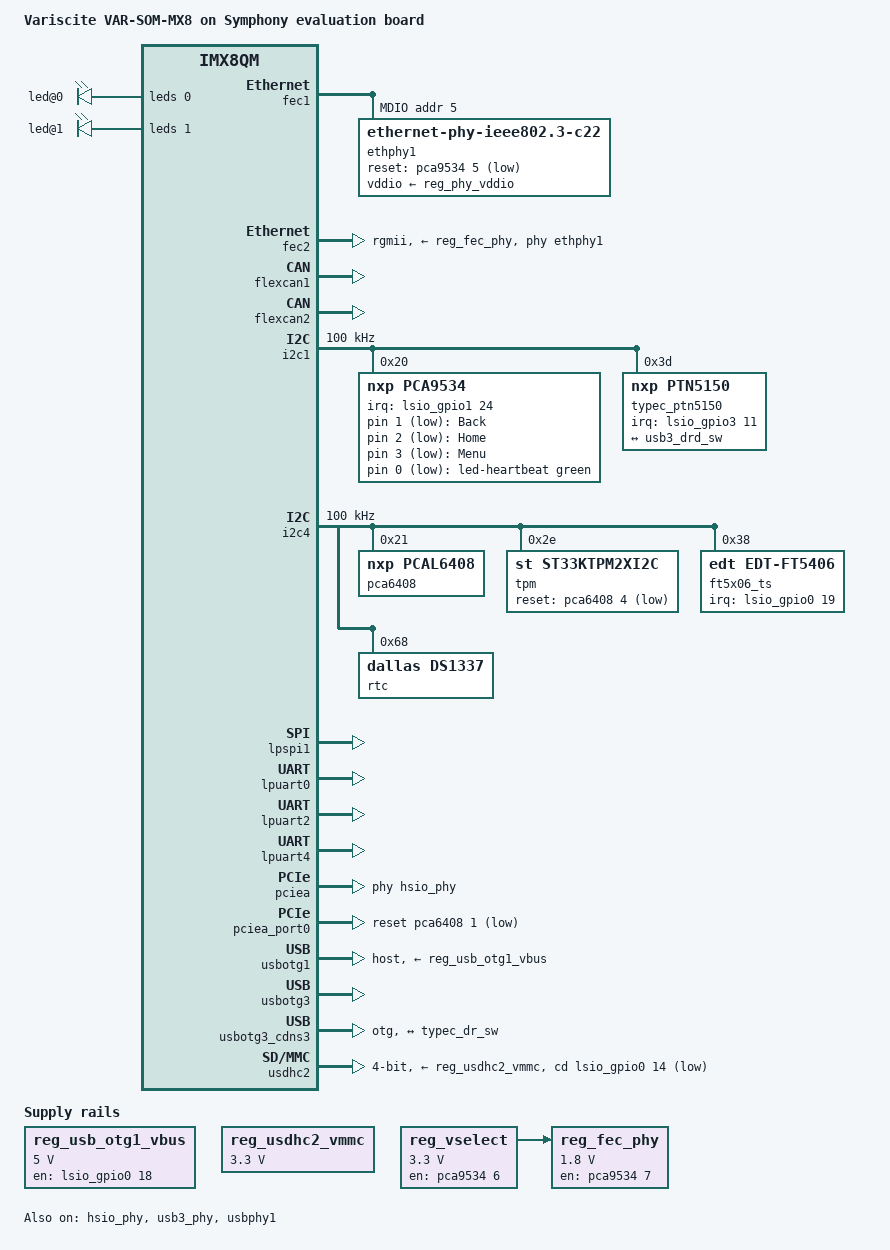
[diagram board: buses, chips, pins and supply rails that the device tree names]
// SPDX-License-Identifier: (GPL-2.0+ OR MIT)
/*
 * Variscite Symphony carrier board for VAR-SOM-MX8 QuadMax
 *
 * Link: https://variscite.com/carrier-boards/symphony-board/
 *
 * Copyright (C) 2026 Variscite Ltd. - https://www.variscite.com/
 *
 */

/dts-v1/;

#include <dt-bindings/input/input.h>
#include <dt-bindings/leds/common.h>
#include "imx8qm-var-som.dtsi"

/ {
	model = "Variscite VAR-SOM-MX8 on Symphony evaluation board";
	compatible = "variscite,var-som-imx8qm-symphony",
		     "variscite,var-som-imx8qm", "fsl,imx8qm";
	chosen {
		stdout-path = &lpuart0;
	};

	gpio-keys {
		compatible = "gpio-keys";

		button-back {
			label = "Back";
			gpios = <&pca9534 1 GPIO_ACTIVE_LOW>;
			linux,code = <KEY_BACK>;
		};

		button-home {
			label = "Home";
			gpios = <&pca9534 2 GPIO_ACTIVE_LOW>;
			linux,code = <KEY_HOME>;
		};

		button-menu {
			label = "Menu";
			gpios = <&pca9534 3 GPIO_ACTIVE_LOW>;
			linux,code = <KEY_MENU>;
		};
	};

	gpio-leds {
		compatible = "gpio-leds";

		led-heartbeat {
			function = LED_FUNCTION_STATUS;
			color = <LED_COLOR_ID_GREEN>;
			gpios = <&pca9534 0 GPIO_ACTIVE_LOW>;
			linux,default-trigger = "heartbeat";
		};
	};

	reg_fec_phy: regulator-fec-phy {
		compatible = "regulator-fixed";
		regulator-name = "fec-phy";
		regulator-min-microvolt = <1800000>;
		regulator-max-microvolt = <1800000>;
		regulator-enable-ramp-delay = <20000>;
		vin-supply = <&reg_vselect>;
		gpio = <&pca9534 7 GPIO_ACTIVE_HIGH>;
		enable-active-high;
	};

	reg_usb_otg1_vbus: regulator-usb-otg1-vbus {
		compatible = "regulator-fixed";
		regulator-name = "usb_otg1_vbus";
		regulator-min-microvolt = <5000000>;
		regulator-max-microvolt = <5000000>;
		gpio = <&lsio_gpio0 18 GPIO_ACTIVE_HIGH>;
		enable-active-high;
	};

	reg_usdhc2_vmmc: regulator-usdhc2-vmmc {
		compatible = "regulator-fixed";
		regulator-name = "sw-3p3-sd1";
		regulator-min-microvolt = <3300000>;
		regulator-max-microvolt = <3300000>;
		regulator-always-on;
	};

	reg_vselect: regulator-vselect {
		compatible = "regulator-fixed";
		regulator-name = "reg_vselect";
		regulator-min-microvolt = <3300000>;
		regulator-max-microvolt = <3300000>;
		regulator-always-on;
		gpio = <&pca9534 6 GPIO_ACTIVE_HIGH>;
		enable-active-high;
	};
};

&ethphy0 {
	leds {
		#address-cells = <1>;
		#size-cells = <0>;

		led@0 {
			reg = <0>;
			color = <LED_COLOR_ID_YELLOW>;
			function = LED_FUNCTION_LAN;
			linux,default-trigger = "netdev";
		};

		led@1 {
			reg = <1>;
			color = <LED_COLOR_ID_GREEN>;
			function = LED_FUNCTION_LAN;
			linux,default-trigger = "netdev";
		};
	};
};

&fec1 {
	mdio {
		ethphy1: ethernet-phy@5 {
			compatible = "ethernet-phy-ieee802.3-c22";
			reg = <5>;
			vddio-supply = <&reg_phy_vddio>;
			reset-gpios = <&pca9534 5 GPIO_ACTIVE_LOW>;
			reset-assert-us = <10000>;
			reset-deassert-us = <100000>;

			leds {
				#address-cells = <1>;
				#size-cells = <0>;

				led@0 {
					reg = <0>;
					color = <LED_COLOR_ID_YELLOW>;
					function = LED_FUNCTION_LAN;
					linux,default-trigger = "netdev";
				};

				led@1 {
					reg = <1>;
					color = <LED_COLOR_ID_GREEN>;
					function = LED_FUNCTION_LAN;
					linux,default-trigger = "netdev";
				};
			};
		};
	};
};

&fec2 {
	pinctrl-names = "default";
	pinctrl-0 = <&pinctrl_fec2>;
	/*
	 * The required RGMII TX and RX 2ns delays are implemented directly
	 * in hardware via passive delay elements on the SOM PCB.
	 * No delay configuration is needed in software via PHY driver.
	 */
	phy-mode = "rgmii";
	phy-handle = <&ethphy1>;
	phy-supply = <&reg_fec_phy>;
	status = "okay";
};

&flexcan1 {
	pinctrl-names = "default";
	pinctrl-0 = <&pinctrl_flexcan1>;
	status = "okay";
};

&flexcan2 {
	pinctrl-names = "default";
	pinctrl-0 = <&pinctrl_flexcan2>;
	status = "okay";
};

&hsio_phy {
	fsl,hsio-cfg = "pciea-pcieb-sata";
	fsl,refclk-pad-mode = "input";
	status = "okay";
};

&i2c1 {
	clock-frequency = <100000>;
	pinctrl-names = "default";
	pinctrl-0 = <&pinctrl_i2c1>;
	status = "okay";

	pca9534: gpio@20 {
		compatible = "nxp,pca9534";
		reg = <0x20>;
		gpio-controller;
		#gpio-cells = <2>;
		pinctrl-names = "default";
		pinctrl-0 = <&pinctrl_pca9534>;
		interrupt-parent = <&lsio_gpio1>;
		interrupts = <24 IRQ_TYPE_LEVEL_LOW>;
	};

	/* USB Type-C Controller */
	typec_ptn5150: typec@3d {
		compatible = "nxp,ptn5150";
		reg = <0x3d>;
		pinctrl-names = "default";
		pinctrl-0 = <&pinctrl_ptn5150>;
		interrupt-parent = <&lsio_gpio3>;
		interrupts = <11 IRQ_TYPE_LEVEL_LOW>;

		port {
			typec_dr_sw: endpoint {
				remote-endpoint = <&usb3_drd_sw>;
			};
		};
	};
};

&i2c4 {
	#address-cells = <1>;
	#size-cells = <0>;
	clock-frequency = <100000>;
	pinctrl-names = "default";
	pinctrl-0 = <&pinctrl_i2c4>;
	status = "okay";

	pca6408: gpio@21 {
		compatible = "nxp,pcal6408";
		reg = <0x21>;
		gpio-controller;
		#gpio-cells = <2>;

		/* RGB_SEL */
		lvds-brg-enable-hog {
			gpio-hog;
			gpios = <7 GPIO_ACTIVE_HIGH>;
			output-low;
			line-name = "lvds_brg_en";
		};
	};

	st33ktpm2xi2c: tpm@2e {
		compatible = "st,st33ktpm2xi2c", "tcg,tpm-tis-i2c";
		reg = <0x2e>;
		label = "tpm";
		reset-gpios = <&pca6408 4 GPIO_ACTIVE_LOW>;
	};

	/* Capacitive touch */
	ft5x06_ts: touchscreen@38 {
		compatible = "edt,edt-ft5406";
		pinctrl-names = "default";
		reg = <0x38>;
		pinctrl-0 = <&pinctrl_captouch>;
		interrupt-parent = <&lsio_gpio0>;
		interrupts = <19 IRQ_TYPE_LEVEL_LOW>;
		touchscreen-size-x = <800>;
		touchscreen-size-y = <480>;
		touchscreen-inverted-x;
		touchscreen-inverted-y;
		wakeup-source;
	};

	rtc@68 {
		compatible = "dallas,ds1337";
		reg = <0x68>;
	};
};

&lpspi1 {
	#address-cells = <1>;
	#size-cells = <0>;
	pinctrl-names = "default";
	pinctrl-0 = <&pinctrl_lpspi1>;
	cs-gpios = <&lsio_gpio3 24 GPIO_ACTIVE_LOW>;
	status = "okay";
};

/* console */
&lpuart0 {
	pinctrl-names = "default";
	pinctrl-0 = <&pinctrl_lpuart0>;
	status = "okay";
};

/* header */
&lpuart2 {
	pinctrl-names = "default";
	pinctrl-0 = <&pinctrl_lpuart2>;
	status = "okay";
};

/* header */
&lpuart4 {
	pinctrl-names = "default";
	pinctrl-0 = <&pinctrl_lpuart4>;
	status = "okay";
};

&pca9534 {
	usb3-signal-route-hog {
		gpio-hog;
		gpios = <4 GPIO_ACTIVE_HIGH>;
		output-low;
		line-name = "usb3_signal_route";
	};
};

&pciea{
	phys = <&hsio_phy 0 PHY_TYPE_PCIE 0>;
	phy-names = "pcie-phy";
	status = "okay";
};

&pciea_port0 {
	reset-gpios = <&pca6408 1 GPIO_ACTIVE_LOW>;
};

&usb3_phy {
	status = "okay";
};

&usbotg1 {
	dr_mode = "host";
	pinctrl-names = "default";
	pinctrl-0 = <&pinctrl_usbotg1>;
	vbus-supply = <&reg_usb_otg1_vbus>;
	srp-disable;
	hnp-disable;
	adp-disable;
	disable-over-current;
	status = "okay";
};

&usbotg3 {
	status = "okay";
};

&usbotg3_cdns3 {
	dr_mode = "otg";
	usb-role-switch;
	status = "okay";

	port {
		usb3_drd_sw: endpoint {
			remote-endpoint = <&typec_dr_sw>;
		};
	};
};

&usbphy1 {
	status = "okay";
};

&usdhc2 {
	pinctrl-names = "default", "state_100mhz", "state_200mhz";
	pinctrl-0 = <&pinctrl_usdhc2>, <&pinctrl_usdhc2_gpio>;
	pinctrl-1 = <&pinctrl_usdhc2_100mhz>, <&pinctrl_usdhc2_gpio>;
	pinctrl-2 = <&pinctrl_usdhc2_200mhz>, <&pinctrl_usdhc2_gpio>;
	bus-width = <4>;
	cd-gpios = <&lsio_gpio0 14 GPIO_ACTIVE_LOW>;
	vmmc-supply = <&reg_usdhc2_vmmc>;
	status = "okay";
};

&iomuxc {
	pinctrl_captouch: captouchgrp {
		fsl,pins = <
			IMX8QM_GPT1_COMPARE_LSIO_GPIO0_IO19			0x06000021
		>;
	};

	pinctrl_fec2: fec2grp {
		fsl,pins = <
			IMX8QM_ENET1_RGMII_TX_CTL_CONN_ENET1_RGMII_TX_CTL	0x06000048
			IMX8QM_ENET1_RGMII_TXC_CONN_ENET1_RGMII_TXC		0x06000048
			IMX8QM_ENET1_RGMII_TXD0_CONN_ENET1_RGMII_TXD0		0x06000048
			IMX8QM_ENET1_RGMII_TXD1_CONN_ENET1_RGMII_TXD1		0x06000048
			IMX8QM_ENET1_RGMII_TXD2_CONN_ENET1_RGMII_TXD2		0x06000048
			IMX8QM_ENET1_RGMII_TXD3_CONN_ENET1_RGMII_TXD3		0x06000048
			IMX8QM_ENET1_RGMII_RXC_CONN_ENET1_RGMII_RXC		0x06000048
			IMX8QM_ENET1_RGMII_RX_CTL_CONN_ENET1_RGMII_RX_CTL	0x06000048
			IMX8QM_ENET1_RGMII_RXD0_CONN_ENET1_RGMII_RXD0		0x06000048
			IMX8QM_ENET1_RGMII_RXD1_CONN_ENET1_RGMII_RXD1		0x06000048
			IMX8QM_ENET1_RGMII_RXD2_CONN_ENET1_RGMII_RXD2		0x06000048
			IMX8QM_ENET1_RGMII_RXD3_CONN_ENET1_RGMII_RXD3		0x06000048
		>;
	};

	pinctrl_flexcan1: flexcan0grp {
		fsl,pins = <
			IMX8QM_FLEXCAN0_TX_DMA_FLEXCAN0_TX			0x00000021
			IMX8QM_FLEXCAN0_RX_DMA_FLEXCAN0_RX			0x00000021
		>;
	};

	pinctrl_flexcan2: flexcan1grp {
		fsl,pins = <
			IMX8QM_FLEXCAN1_TX_DMA_FLEXCAN1_TX			0x00000021
			IMX8QM_FLEXCAN1_RX_DMA_FLEXCAN1_RX			0x00000021
		>;
	};

	pinctrl_i2c1: i2c1grp {
		fsl,pins = <
			IMX8QM_USB_SS3_TC3_DMA_I2C1_SDA				0xc6000020
			IMX8QM_USB_SS3_TC1_DMA_I2C1_SCL				0xc6000020
		>;
	};

	pinctrl_i2c4: i2c4grp {
		fsl,pins = <
			IMX8QM_ENET1_MDC_DMA_I2C4_SCL				0xc6000020
			IMX8QM_ENET1_MDIO_DMA_I2C4_SDA				0xc6000020
		>;
	};

	pinctrl_lpspi1: lpspi1grp {
		fsl,pins = <
			IMX8QM_ADC_IN3_DMA_SPI1_SCK				0x0600004c
			IMX8QM_ADC_IN4_DMA_SPI1_SDO				0x0600004c
			IMX8QM_ADC_IN5_DMA_SPI1_SDI				0x0600004c
			IMX8QM_ADC_IN6_LSIO_GPIO3_IO24				0x00000021
		>;
	};

	pinctrl_lpuart0: lpuart0grp {
		fsl,pins = <
			IMX8QM_UART0_RX_DMA_UART0_RX				0x06000020
			IMX8QM_UART0_TX_DMA_UART0_TX				0x06000020
		>;
	};

	pinctrl_lpuart2: lpuart2grp {
		fsl,pins = <
			IMX8QM_LVDS0_I2C1_SCL_DMA_UART2_TX			0x06000020
			IMX8QM_LVDS0_I2C1_SDA_DMA_UART2_RX			0x06000020
		>;
	};

	pinctrl_lpuart4: lpuart4grp {
		fsl,pins = <
			IMX8QM_M40_GPIO0_01_DMA_UART4_TX			0x06000020
			IMX8QM_M40_GPIO0_00_DMA_UART4_RX			0x06000020
		>;
	};

	pinctrl_pca9534: pca9534grp {
		fsl,pins = <
			IMX8QM_MIPI_CSI0_MCLK_OUT_LSIO_GPIO1_IO24		0x00000021
		>;
	};

	pinctrl_ptn5150: ptn5150grp {
		fsl,pins = <
			IMX8QM_SPI2_CS1_LSIO_GPIO3_IO11				0x00000021
		>;
	};

	pinctrl_usbotg1: otg1grp {
		fsl,pins = <
			IMX8QM_GPT1_CAPTURE_LSIO_GPIO0_IO18			0x06000048
		>;
	};

	pinctrl_usdhc2: usdhc2grp {
		fsl,pins = <
			IMX8QM_USDHC1_CLK_CONN_USDHC1_CLK			0x06000041
			IMX8QM_USDHC1_CMD_CONN_USDHC1_CMD			0x00000021
			IMX8QM_USDHC1_DATA0_CONN_USDHC1_DATA0			0x00000021
			IMX8QM_USDHC1_DATA1_CONN_USDHC1_DATA1			0x00000021
			IMX8QM_USDHC1_DATA2_CONN_USDHC1_DATA2			0x00000021
			IMX8QM_USDHC1_DATA3_CONN_USDHC1_DATA3			0x00000021
			IMX8QM_USDHC1_VSELECT_CONN_USDHC1_VSELECT		0x00000021
		>;
	};

	pinctrl_usdhc2_100mhz: usdhc2-100mhzgrp {
		fsl,pins = <
			IMX8QM_USDHC1_CLK_CONN_USDHC1_CLK			0x06000040
			IMX8QM_USDHC1_CMD_CONN_USDHC1_CMD			0x00000020
			IMX8QM_USDHC1_DATA0_CONN_USDHC1_DATA0			0x00000020
			IMX8QM_USDHC1_DATA1_CONN_USDHC1_DATA1			0x00000020
			IMX8QM_USDHC1_DATA2_CONN_USDHC1_DATA2			0x00000020
			IMX8QM_USDHC1_DATA3_CONN_USDHC1_DATA3			0x00000020
			IMX8QM_USDHC1_VSELECT_CONN_USDHC1_VSELECT		0x00000020
		>;
	};

	pinctrl_usdhc2_200mhz: usdhc2-200mhzgrp {
		fsl,pins = <
			IMX8QM_USDHC1_CLK_CONN_USDHC1_CLK			0x06000040
			IMX8QM_USDHC1_CMD_CONN_USDHC1_CMD			0x00000020
			IMX8QM_USDHC1_DATA0_CONN_USDHC1_DATA0			0x00000020
			IMX8QM_USDHC1_DATA1_CONN_USDHC1_DATA1			0x00000020
			IMX8QM_USDHC1_DATA2_CONN_USDHC1_DATA2			0x00000020
			IMX8QM_USDHC1_DATA3_CONN_USDHC1_DATA3			0x00000020
			IMX8QM_USDHC1_VSELECT_CONN_USDHC1_VSELECT		0x00000020
		>;
	};

	pinctrl_usdhc2_gpio: usdhc2-gpiogrp {
		fsl,pins = <
			IMX8QM_GPT0_CLK_LSIO_GPIO0_IO14				0x00000021
		>;
	};
};
